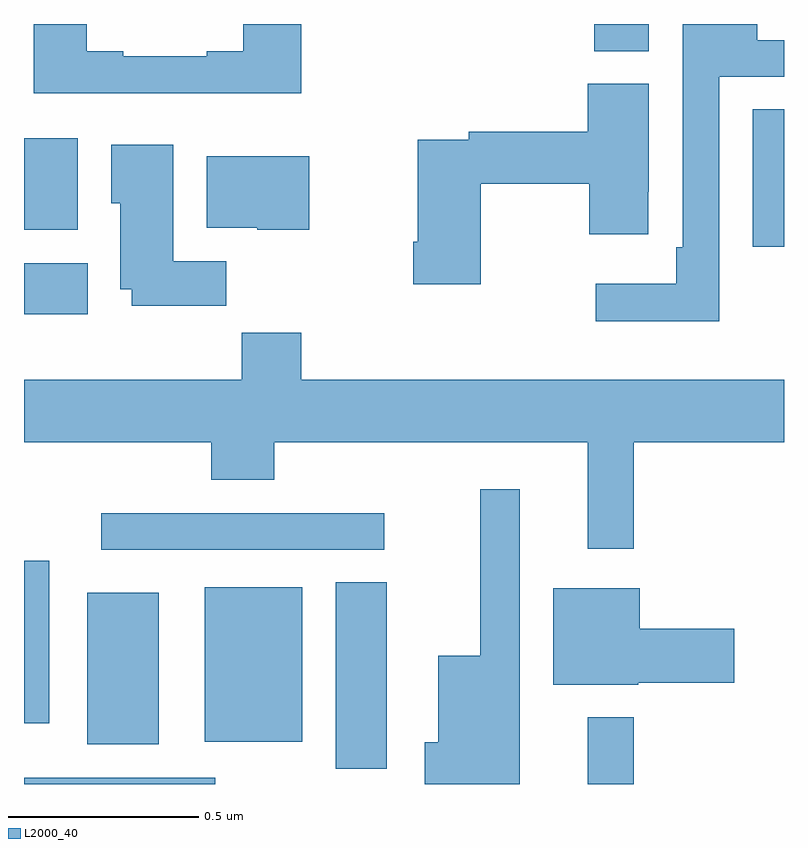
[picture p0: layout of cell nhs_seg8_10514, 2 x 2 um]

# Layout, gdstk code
import gdstk
lib = gdstk.Library(unit=1e-6, precision=1e-09)
def R(c, l, rs):  # rectangles x0, y0, x1, y1
    for r in rs: c.add(gdstk.rectangle(r[:2], r[2:], *l))
def P(c, l, *ps):  # polygons
    for p in ps: c.add(gdstk.Polygon(p, *l))
L2000_40 = (2000, 40)

nhs_seg8_10514 = lib.new_cell('nhs_seg8_10514')
R(nhs_seg8_10514, L2000_40, [(250,1148.9,250.503,1148.916), (251.483,1148.9,251.605,1149.076), (250.82,1148.94,250.954,1149.431), (250.166,1149.005,250.354,1149.403), (250.475,1149.011,250.732,1149.418), (250,1149.06,250.066,1149.487), (250.203,1149.516,250.948,1149.612), (250,1150.136,250.168,1150.27), (251.918,1150.314,252,1150.676), (250,1150.358,250.141,1150.6), (251.501,1150.828,251.644,1150.9)])
P(nhs_seg8_10514, L2000_40, [(251.829,1150.761),(252,1150.761),(252,1150.857),(251.929,1150.857),(251.929,1150.9),(251.733,1150.9),(251.733,1150.312),(251.717,1150.312),(251.717,1150.216),(251.505,1150.216),(251.505,1150.118),(251.829,1150.118)],
  [(250.73,1150.9),(250.577,1150.9),(250.577,1150.828),(250.481,1150.828),(250.481,1150.815),(250.261,1150.815),(250.261,1150.828),(250.165,1150.828),(250.165,1150.9),(250,1150.9),(250,1150.899),(250.025,1150.899),(250.025,1150.718),(250.73,1150.718)],
  [(251.202,1150.48),(251.488,1150.48),(251.488,1150.347),(251.643,1150.347),(251.643,1150.459),(251.644,1150.459),(251.644,1150.743),(251.483,1150.743),(251.483,1150.616),(251.17,1150.616),(251.17,1150.596),(251.036,1150.596),(251.036,1150.327),(251.024,1150.327),(251.024,1150.215),(251.202,1150.215)],
  [(250.532,1150.276),(250.393,1150.276),(250.393,1150.582),(250.229,1150.582),(250.229,1150.428),(250.253,1150.428),(250.253,1150.202),(250.283,1150.202),(250.283,1150.158),(250.532,1150.158)],
  [(250.75,1150.552),(250.481,1150.552),(250.481,1150.364),(250.614,1150.364),(250.614,1150.358),(250.75,1150.358)],
  [(251.605,1149.8),(252,1149.8),(252,1149.964),(250.73,1149.964),(250.73,1150.088),(250.573,1150.088),(250.573,1149.964),(250,1149.964),(250,1149.8),(250.493,1149.8),(250.493,1149.701),(250.658,1149.701),(250.658,1149.8),(251.483,1149.8),(251.483,1149.519),(251.605,1149.519)],
  [(251.305,1149.676),(251.201,1149.676),(251.201,1149.238),(251.09,1149.238),(251.09,1149.01),(251.054,1149.01),(251.054,1148.9),(251.305,1148.9)],
  [(251.616,1149.167),(251.869,1149.167),(251.869,1149.309),(251.62,1149.309),(251.62,1149.415),(251.393,1149.415),(251.393,1149.161),(251.616,1149.161)])

lib.write_gds('nhs_seg8_10514.gds')
